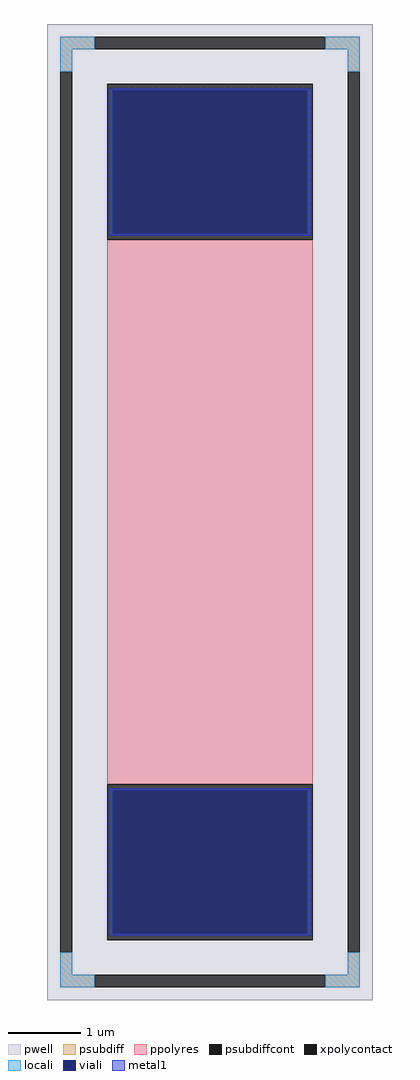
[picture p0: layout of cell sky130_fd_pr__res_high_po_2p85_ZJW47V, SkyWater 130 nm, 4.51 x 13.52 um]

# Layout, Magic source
magic
tech sky130A
magscale 1 2
<< pwell >>
rect -451 -1352 451 1352
<< psubdiff >>
rect -415 1282 -319 1316
rect 319 1282 415 1316
rect -415 1220 -381 1282
rect 381 1220 415 1282
rect -415 -1282 -381 -1220
rect 381 -1282 415 -1220
rect -415 -1316 -319 -1282
rect 319 -1316 415 -1282
<< psubdiffcont >>
rect -319 1282 319 1316
rect -415 -1220 -381 1220
rect 381 -1220 415 1220
rect -319 -1316 319 -1282
<< xpolycontact >>
rect -285 754 285 1186
rect -285 -1186 285 -754
<< ppolyres >>
rect -285 -754 285 754
<< locali >>
rect -415 1282 -319 1316
rect 319 1282 415 1316
rect -415 1220 -381 1282
rect 381 1220 415 1282
rect -415 -1282 -381 -1220
rect 381 -1282 415 -1220
rect -415 -1316 -319 -1282
rect 319 -1316 415 -1282
<< viali >>
rect -269 771 269 1168
rect -269 -1168 269 -771
<< metal1 >>
rect -281 1168 281 1174
rect -281 771 -269 1168
rect 269 771 281 1168
rect -281 765 281 771
rect -281 -771 281 -765
rect -281 -1168 -269 -771
rect 269 -1168 281 -771
rect -281 -1174 281 -1168
<< properties >>
string FIXED_BBOX -398 -1299 398 1299
string gencell sky130_fd_pr__res_high_po_2p85
string library sky130
string parameters w 2.850 l 7.7 m 1 nx 1 wmin 2.850 lmin 0.50 rho 319.8 val 1.0k dummy 0 dw 0.0 term 194.82 sterm 0.0 caplen 0 guard 1 glc 1 grc 1 gtc 1 gbc 1 compatible {sky130_fd_pr__res_high_po_0p35  sky130_fd_pr__res_high_po_0p69 sky130_fd_pr__res_high_po_1p41  sky130_fd_pr__res_high_po_2p85 sky130_fd_pr__res_high_po_5p73} snake 0 full_metal 1 wmax 2.850 n_guard 0 hv_guard 0 vias 1 viagb 0 viagt 0 viagl 0 viagr 0
<< end >>
